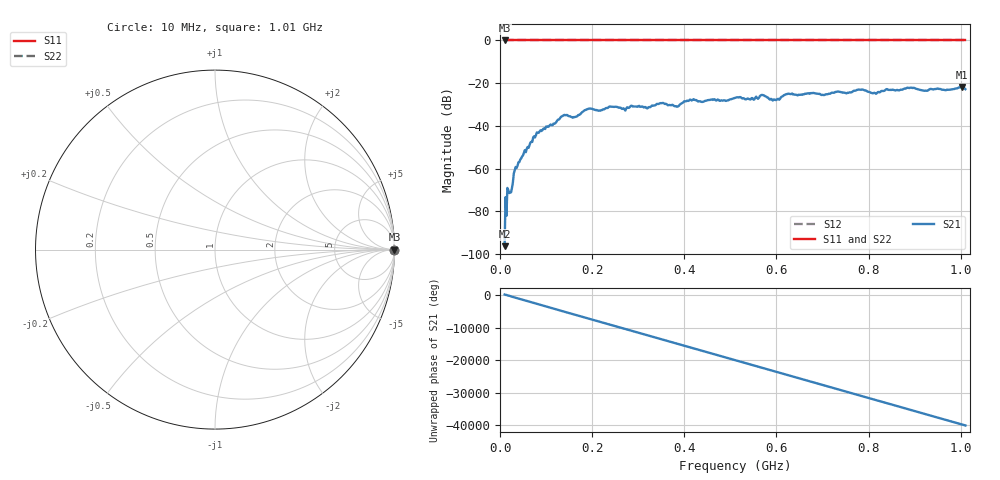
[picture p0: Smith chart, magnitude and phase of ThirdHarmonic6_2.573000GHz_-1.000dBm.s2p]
! 8/17/2025 5:24:04 AM
! C:\ANRITSUVNA\TEMP\TEMP.S2P
! CHANNEL.1
! TR.MEASUREMENT
! RAW.DATA
! RF.CORRECTION.OFF
! AVERAGING.OFF
! IF.BANDWIDTH: 5KHZ
! SWEEPTYPE:  FREQ.SWEEP(Linear)
! Reference Plane Port Info
! PORT:  PORT1  PORT2
! DISTANCE:  0  m  0  m
! TIME:  0  s  0  s
! PHASE.OFFSET:  0  deg.  0  deg.
! LOSS:  0  dB  0  dB
! REF.LOSS:  0  dB  0  dB
! REF.FREQ:  0  Hz  0  Hz
! Power Info
! POWER:  -20  dBm  -20  dBm
! EFF.POWER:  -20  dBm  -20  dBm
! SOURCE.ATTEN:  0  dB  0  dB
! TEST.ATTEN:  0  dB  0  dB
# GHZ S RI R 50.0
! FREQ.GHZ  S11RE  S11IM  S21RE  S21IM  S12RE  S12IM  S22RE  S22IM
!; PortSelection: Port_12
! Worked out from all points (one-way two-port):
!   501 points, 10 MHz to 1.01 GHz, reference 50 ohm
!   highest |S21| = -21.77 dB at 1.002 GHz (marker M1); lowest = -96.2 dB at 10 MHz (marker M2)
!   lowest |S11| = 0.0 dB at 10 MHz (marker M3)
!   |S11| at or under -10 dB: nowhere
!   |S22| runs from 0.0 to 0.0 dB; largest |S21 - S12| = 1.1
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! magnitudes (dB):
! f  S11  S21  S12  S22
! 10 MHz  0.0  -96.2  0.0  0.0
! 16 MHz  0.0  -69.0  0.0  0.0
! 24 MHz  0.0  -71.1  0.0  0.0
! 36 MHz  0.0  -59.7  0.0  0.0
! 76 MHz  0.0  -45.4  0.0  0.0
! 136 MHz  0.0  -35.3  0.0  0.0
! 162 MHz  0.0  -35.9  0.0  0.0
! 178 MHz  0.0  -33.6  0.0  0.0
! 194 MHz  0.0  -31.9  0.0  0.0
! 322 MHz  0.0  -31.3  0.0  0.0
! 344 MHz  0.0  -29.7  0.0  0.0
! 384 MHz  0.0  -31.0  0.0  0.0
! 416 MHz  0.0  -28.1  0.0  0.0
! 510 MHz  0.0  -26.9  0.0  0.0
! 570 MHz  0.0  -25.5  0.0  0.0
! 596 MHz  0.0  -27.6  0.0  0.0
! 624 MHz  0.0  -25.0  0.0  0.0
! 678 MHz  0.0  -24.6  0.0  0.0
! 814 MHz  0.0  -24.6  0.0  0.0
! 844 MHz  0.0  -23.2  0.0  0.0
! 1.002 GHz  0.0  -21.8  0.0  0.0
! 1.01 GHz  0.0  -22.8  0.0  0.0
